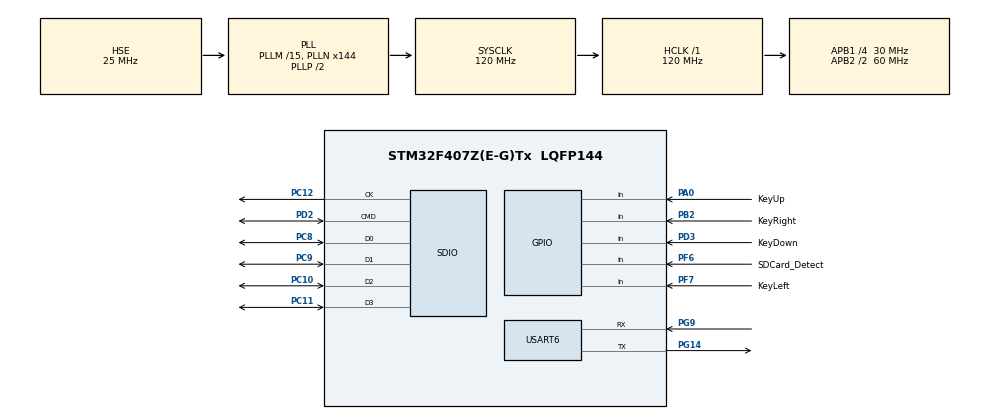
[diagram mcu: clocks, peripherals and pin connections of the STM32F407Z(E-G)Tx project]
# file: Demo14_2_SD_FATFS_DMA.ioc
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Dma.Request0=SDIO_TX
Dma.Request1=SDIO_RX
Dma.SDIO_RX.1.Direction=DMA_PERIPH_TO_MEMORY
Dma.SDIO_RX.1.FIFOMode=DMA_FIFOMODE_ENABLE
Dma.SDIO_RX.1.FIFOThreshold=DMA_FIFO_THRESHOLD_FULL
Dma.SDIO_RX.1.Instance=DMA2_Stream3
Dma.SDIO_RX.1.MemBurst=DMA_MBURST_INC4
Dma.SDIO_RX.1.MemDataAlignment=DMA_MDATAALIGN_WORD
Dma.SDIO_RX.1.MemInc=DMA_MINC_ENABLE
Dma.SDIO_RX.1.Mode=DMA_PFCTRL
Dma.SDIO_RX.1.PeriphBurst=DMA_PBURST_INC4
Dma.SDIO_RX.1.PeriphDataAlignment=DMA_PDATAALIGN_WORD
Dma.SDIO_RX.1.PeriphInc=DMA_PINC_DISABLE
Dma.SDIO_RX.1.Priority=DMA_PRIORITY_MEDIUM
Dma.SDIO_TX.0.Direction=DMA_MEMORY_TO_PERIPH
Dma.SDIO_TX.0.FIFOMode=DMA_FIFOMODE_ENABLE
Dma.SDIO_TX.0.FIFOThreshold=DMA_FIFO_THRESHOLD_FULL
Dma.SDIO_TX.0.Instance=DMA2_Stream6
Dma.SDIO_TX.0.MemBurst=DMA_MBURST_INC4
Dma.SDIO_TX.0.MemDataAlignment=DMA_MDATAALIGN_WORD
Dma.SDIO_TX.0.MemInc=DMA_MINC_ENABLE
Dma.SDIO_TX.0.Mode=DMA_PFCTRL
Dma.SDIO_TX.0.PeriphBurst=DMA_PBURST_INC4
Dma.SDIO_TX.0.PeriphDataAlignment=DMA_PDATAALIGN_WORD
Dma.SDIO_TX.0.PeriphInc=DMA_PINC_DISABLE
Dma.SDIO_TX.0.Priority=DMA_PRIORITY_MEDIUM
FATFS.BSP.number=1
FATFS.USE_DMA_CODE_SD=1
FATFS._CODE_PAGE=936
FATFS._LFN_UNICODE=0
FATFS._USE_CHMOD=1
FATFS._USE_LFN=3
FATFS0.BSP.STBoard=false
FATFS0.BSP.api=Unknown
FATFS0.BSP.instance=PF6
FATFS0.BSP.ip=GPIO
FATFS0.BSP.mode=Input
FATFS0.BSP.name=Detect_SDIO
FATFS0.BSP.solution=PF6
Mcu.Family=STM32F4
Mcu.Name=STM32F407Z(E-G)Tx
Mcu.Package=LQFP144
NVIC.DMA2_Stream3_IRQn=true\:2\:0\:true\:false\:true\:false\:true\:true
NVIC.DMA2_Stream6_IRQn=true\:2\:0\:true\:false\:true\:false\:true\:true
NVIC.PriorityGroup=NVIC_PRIORITYGROUP_4
NVIC.SDIO_IRQn=true\:1\:0\:true\:false\:true\:true\:true\:true
PA0-WKUP.GPIO_Label=KeyUp
PA0-WKUP.GPIO_PuPd=GPIO_PULLUP
PA0-WKUP.Signal=GPIO_Input
PA13.Mode=Serial_Wire
PA13.Signal=SYS_JTMS-SWDIO
PA14.Mode=Serial_Wire
PA14.Signal=SYS_JTCK-SWCLK
PB2.GPIO_Label=KeyRight
PB2.GPIO_PuPd=GPIO_PULLUP
PB2.Signal=GPIO_Input
PC10.Mode=SD_4_bits_Wide_bus
PC10.Signal=SDIO_D2
PC11.Mode=SD_4_bits_Wide_bus
PC11.Signal=SDIO_D3
PC12.Mode=SD_4_bits_Wide_bus
PC12.Signal=SDIO_CK
PC8.Mode=SD_4_bits_Wide_bus
PC8.Signal=SDIO_D0
PC9.Mode=SD_4_bits_Wide_bus
PC9.Signal=SDIO_D1
PD2.Mode=SD_4_bits_Wide_bus
PD2.Signal=SDIO_CMD
PD3.GPIO_Label=KeyDown
PD3.GPIO_PuPd=GPIO_PULLUP
PD3.Signal=GPIO_Input
PF6.GPIO_Label=SDCard_Detect
PF6.GPIO_PuPd=GPIO_PULLUP
PF6.Signal=GPIO_Input
PF7.GPIO_Label=KeyLeft
PF7.GPIO_PuPd=GPIO_PULLUP
PF7.Signal=GPIO_Input
PG14.Mode=Asynchronous
PG14.Signal=USART6_TX
PG9.Mode=Asynchronous
PG9.Signal=USART6_RX
PH0-OSC_IN.Mode=HSE-External-Oscillator
PH0-OSC_IN.Signal=RCC_OSC_IN
PH1-OSC_OUT.Mode=HSE-External-Oscillator
PH1-OSC_OUT.Signal=RCC_OSC_OUT
ProjectManager.HeapSize=0x200
ProjectManager.StackSize=0x400
ProjectManager.TargetToolchain=STM32CubeIDE
RCC.48MHZClocksFreq_Value=48000000
RCC.AHBFreq_Value=120000000
RCC.APB1CLKDivider=RCC_HCLK_DIV4
RCC.APB1Freq_Value=30000000
RCC.APB1TimFreq_Value=60000000
RCC.APB2CLKDivider=RCC_HCLK_DIV2
RCC.APB2Freq_Value=60000000
RCC.APB2TimFreq_Value=120000000
RCC.CortexFreq_Value=120000000
RCC.HCLKFreq_Value=120000000
RCC.HSE_VALUE=25000000
RCC.HSI_VALUE=16000000
RCC.LSE_VALUE=32768
RCC.PLLM=15
RCC.PLLN=144
RCC.PLLQ=5
RCC.PLLSourceVirtual=RCC_PLLSOURCE_HSE
RCC.SYSCLKFreq_VALUE=120000000
RCC.SYSCLKSource=RCC_SYSCLKSOURCE_PLLCLK
RCC.VCOOutputFreq_Value=240000000
RTC.Date=25
RTC.Format=RTC_FORMAT_BIN
RTC.Hours=12
RTC.Minutes=47
RTC.Month=RTC_MONTH_JULY
RTC.Seconds=12
RTC.WeekDay=RTC_WEEKDAY_FRIDAY
RTC.Year=25
SDIO.ClockDiv=6
USART6.VirtualMode=VM_ASYNC
VP_FATFS_VS_SDIO.Mode=SDIO
VP_RTC_VS_RTC_Activate.Mode=RTC_Enabled
VP_RTC_VS_RTC_Calendar.Mode=RTC_Calendar
board=custom

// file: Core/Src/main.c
/* USER CODE BEGIN Header */
/**
  ******************************************************************************
  * @file           : main.c
  * @brief          : Main program body
  ******************************************************************************
  * @attention
  *
  * Copyright (c) 2025 STMicroelectronics.
  * All rights reserved.
  *
  * This software is licensed under terms that can be found in the LICENSE file
  * in the root directory of this software component.
  * If no LICENSE file comes with this software, it is provided AS-IS.
  *
  ******************************************************************************
  */
/* USER CODE END Header */
#include "main.h"
#include "dma.h"
#include "fatfs.h"
#include "rtc.h"
#include "sdio.h"
#include "usart.h"
#include "gpio.h"

/* USER CODE BEGIN Includes */
#include "keyled.h"
#include "file_opera.h"
#include <stdio.h>

//#include "diskio.h"
//#include "sd_diskio.c"
/* USER CODE END Includes */

/* USER CODE BEGIN PM */
__IO uint8_t status = SD_PRESENT;
/* USER CODE END PM */

/* USER CODE BEGIN PV */
BYTE workBuffer[4*BLOCKSIZE];	// Working cache area
/* USER CODE END PV */

void SystemClock_Config(void);

int main(void)
{

  /* MCU Configuration--------------------------------------------------------*/

  /* Reset of all peripherals, Initializes the Flash interface and the Systick. */
  HAL_Init();

  /* Configure the system clock */
  SystemClock_Config();

  /* Initialize all configured peripherals */
  MX_GPIO_Init();
  MX_DMA_Init();
  MX_RTC_Init();
  MX_USART6_UART_Init();
  MX_SDIO_SD_Init();
  MX_FATFS_Init();
  /* USER CODE BEGIN 2 */
  // Start Menu
  printf("Demo14_2: FatFS on SD card(DMA).\r\n\r\n");

  /**
   * @brief SD detect
   * @{
   */
  status = BSP_SD_IsDetected();
  if(status == SD_PRESENT)
  	printf("SD has been present.\r\n");
  else
  	printf("SD has been absent.\r\n");
  /**
   * @}
   */

  /**
   * @brief Mount the file system,register a volume.
   *
   * @brief Format	f_mkfs("0:",FM_FAT32,0,workBuffer,4*BLOCKSIZE)
   * @param path	"0:" first volume;"1:" second volume;""  default volume;
   * @param opt 	FM_FAT 0x01,FM_FAT32 0x02,FM_EXFAT 0x04,FM_ANY 0x07,FM_SFD 0x08
   * @param au 		The size of the cluster.Byte,Volumes are managed in clusters,
   * 				and clusters contain sectors, which are the smallest storage units.
   * @param work	work buffer,is a multiple of the cluster，pointer。
   * @param len		The size of	work buffer，Byte.
   * @{
   */
  retSD = f_mount(&SDFatFS,"0:",0);	// Mount the SD card file system
  if(retSD == FR_NO_FILESYSTEM)
  {
	  retSD=f_mkfs("0:",FM_FAT32,0,workBuffer,4*BLOCKSIZE);
	  if(retSD == FR_OK)
	  {
		  retSD = f_mount(NULL,"0:",0);		// Unmount the drive first
		  retSD = f_mount(&SDFatFS,"0:",0);	// Mount the SD card file system
	  }
  }

  // If Mounted Failure
  if(retSD != FR_OK)
	  printf("mounted, Failure.\r\n\r\n");
  /**
   * @}
   */

  //Menu Item 1
  //format/SD info/disk info
  printf("[S2]KeyUp   =Format SD card. \r\n");
  printf("[S1]KeyRight=SD card info. \r\n");
  printf("[S4]KeyLeft =FAT disk info. \r\n");
  printf("[S3]KeyDown =Next menu page. \r\n\r\n");

  KEYS waitKey;
  while(1)
  {
	  waitKey=ScanPressedKey(KEY_WAIT_ALWAYS); 	// Waiting for the button pressed

	  if(waitKey == KEY_UP) 					// KeyUp=Format SD card
	  {
		  BYTE workBuffer[4*BLOCKSIZE];   		// Working cache area
		  DWORD clusterSize=0;	 				// The cluster size must be greater than or equal to 1 sector, 0 is automatically set.
		  printf("\r\nFormating (10secs)...\r\n");
		  FRESULT res=f_mkfs("0:", FM_FAT32, clusterSize, workBuffer, 4*BLOCKSIZE); //FM_FAT32
		  if (res == FR_OK)
			  printf("Format OK, to reset.\r\n");
		  else
			  printf("Format fail, to reset.\r\n");
	  }
	  else if(waitKey == KEY_LEFT)  			//KeyLeft =FAT disk info
		  fatTest_GetDiskInfo();
	  else if (waitKey == KEY_RIGHT)  			//KeyRight=SD card info"
		  SDCard_ShowInfo();
	  else
		  break;								//turn into the next menu2

	  printf("Reselect menu item or reset.\r\n\r\n");
	  HAL_Delay(500);							//Delay, eliminate the impact of key jitter
  }

  printf("\r\n");
  //Menu Item 2
  //test read/write SD with FATFS universal function
  printf("test read/write SD with FATFS universal function.\r\n");
  printf("[S2]KeyUp   =Write files.\r\n");
  printf("[S3]KeyDown =Get a file info.\r\n");
  printf("[S4]KeyLeft =Read a TXT file and a BIN file.\r\n");
  printf("[S1]KeyRight=Next menu page.\r\n\r\n");

  HAL_Delay(500);

  /* Menu2,use FATFS function operates files,such as 'f_'.
   * For example, These functions with "f_" as prefix,
   * are located under the \Middlewares\Third_Party\FatFs\src\.
   * These functions exist as long as FATFS is turned on,
   * but they have nothing to do with DMA.
   * Whether DMA is enabled or not, these functions are implemented the same way.
   *
   */
  while(2)
  {
	  waitKey=ScanPressedKey(KEY_WAIT_ALWAYS);

	  //Create a file with the following text and name it.
	  if (waitKey==KEY_UP )
	  {
		  fatTest_WriteTXTFile("DMA_readme.txt",2025,07,14);
		  fatTest_WriteTXTFile("DMA_help.txt",  2025,07,14);
		  fatTest_WriteBinFile("DMA_ADC2000.dat",30, 2000);
		  fatTest_WriteBinFile("DMA_ADC1000.dat",100,1000);
		  f_mkdir("0:/SubDirectory");
		  f_mkdir("0:/Documents");
	  }
	  else if (waitKey==KEY_DOWN)
	  {
	  	  fatTest_GetFileInfo("DMA_ADC1000.dat");
	  }
	  else if (waitKey==KEY_LEFT )
	  {
		  printf("Read a TXT file:\r\n");
		  fatTest_ReadTXTFile("DMA_readme.txt");
		  printf("Read a BIN file:\r\n");
	  	  fatTest_ReadBinFile("DMA_ADC2000.dat");
	  }
	  else if (waitKey==KEY_RIGHT)
		  break;		//turn into the next menu3

	  printf("Reselect menu item or reset.\r\n\r\n");

	  HAL_Delay(500);
  }

  printf("\r\n");
  //Menu Item 3
  //test erase/sd info/read/write with specialized SD_Function
  printf("test erase/SD info/read/write with specialized SD_Function.\r\n");
  printf("[S2]KeyUp   =SD card info. \r\n");
  printf("[S3]KeyDown =Erase 0-10 blocks. \r\n");
  printf("[S4]KeyLeft =Write block. \r\n");
  printf("[S1]KeyRight=Read block. \r\n\r\n");

  HAL_Delay(500);

  /* Menu 3,use FATFS function operates files,such as 'SD_'.
   * For example, These functions with "SD_" as prefix,
   * are located under the \FATFS\Target\.
   * These functions exist as long as FATFS is turned on,
   * but they are related to DMA.
   * Whether DMA is enabled or not, these functions are implemented different way.
   *
   */
  while(3)
  {
	  waitKey=ScanPressedKey(KEY_WAIT_ALWAYS);

	  if (waitKey==KEY_UP)
	  {
		  SDCard_ShowInfo();
		  //printf("Reselect menu item or reset. \r\n");
	  }
	  else if (waitKey== KEY_DOWN)
	  {
		  SDCard_EraseBlocks();			//EraseBlocks 0-10
		  //printf("Reselect menu item or reset. \r\n");
	  }
	  else if (waitKey== KEY_LEFT)
		  SDCard_TestWrite_DMA();
	  else if (waitKey== KEY_RIGHT)
		  SDCard_TestRead_DMA();

	  HAL_Delay(500);
	  printf("Reselect menu item or reset.\r\n\r\n");
  }
  /* USER CODE END 2 */

  /* Infinite loop */
  while (1)
  {

  }
}

void SystemClock_Config(void)
{
  RCC_OscInitTypeDef RCC_OscInitStruct = {0};
  RCC_ClkInitTypeDef RCC_ClkInitStruct = {0};

  /** Configure the main internal regulator output voltage
  */
  __HAL_RCC_PWR_CLK_ENABLE();
  __HAL_PWR_VOLTAGESCALING_CONFIG(PWR_REGULATOR_VOLTAGE_SCALE1);

  /** Initializes the RCC Oscillators according to the specified parameters
  * in the RCC_OscInitTypeDef structure.
  */
  RCC_OscInitStruct.OscillatorType = RCC_OSCILLATORTYPE_LSI|RCC_OSCILLATORTYPE_HSE;
  RCC_OscInitStruct.HSEState = RCC_HSE_ON;
  RCC_OscInitStruct.LSIState = RCC_LSI_ON;
  RCC_OscInitStruct.PLL.PLLState = RCC_PLL_ON;
  RCC_OscInitStruct.PLL.PLLSource = RCC_PLLSOURCE_HSE;
  RCC_OscInitStruct.PLL.PLLM = 15;
  RCC_OscInitStruct.PLL.PLLN = 144;
  RCC_OscInitStruct.PLL.PLLP = RCC_PLLP_DIV2;
  RCC_OscInitStruct.PLL.PLLQ = 5;
  if (HAL_RCC_OscConfig(&RCC_OscInitStruct) != HAL_OK)
  {
    Error_Handler();
  }

  /** Initializes the CPU, AHB and APB buses clocks
  */
  RCC_ClkInitStruct.ClockType = RCC_CLOCKTYPE_HCLK|RCC_CLOCKTYPE_SYSCLK
                              |RCC_CLOCKTYPE_PCLK1|RCC_CLOCKTYPE_PCLK2;
  RCC_ClkInitStruct.SYSCLKSource = RCC_SYSCLKSOURCE_PLLCLK;
  RCC_ClkInitStruct.AHBCLKDivider = RCC_SYSCLK_DIV1;
  RCC_ClkInitStruct.APB1CLKDivider = RCC_HCLK_DIV4;
  RCC_ClkInitStruct.APB2CLKDivider = RCC_HCLK_DIV2;

  if (HAL_RCC_ClockConfig(&RCC_ClkInitStruct, FLASH_LATENCY_3) != HAL_OK)
  {
    Error_Handler();
  }
}

/* USER CODE BEGIN 4 */

/* Show SD Information */
void SDCard_ShowInfo()
{
	HAL_SD_CardInfoTypeDef cardInfo;
	HAL_StatusTypeDef res=HAL_SD_GetCardInfo(&hsd,&cardInfo);

	if (res!=HAL_OK)
	{
		printf("HAL_SD_GetCardInfo() error. \r\n");
		return;
	}

	printf("\r\n*** SD card info *** \r\n\r\n");

	printf("Card Type= %ld \r\n", cardInfo.CardType);
	printf("Card Version= %ld \r\n", cardInfo.CardVersion);
	printf("Card Class= %ld \r\n", cardInfo.Class);
	printf("Relative Card Address= %ld \r\n", cardInfo.RelCardAdd);
	printf("Block Count= %ld \r\n", cardInfo.BlockNbr);
	printf("Block Size(Bytes)= %ld \r\n", cardInfo.BlockSize);
	printf("LogiBlockCount= %ld \r\n", cardInfo.LogBlockNbr);
	printf("LogiBlockSize(Bytes)= %ld \r\n", cardInfo.LogBlockSize);

	uint32_t cap = cardInfo.BlockNbr/1024;	//KB
	cap	= cap*cardInfo.BlockSize;			//KB
	cap = cap/1024;							//MB

	printf("SD Card Capacity(MB)= %ld \r\n\r\n", cap);
	//return HAL_OK;
}

int __io_putchar(int ch)
{
	HAL_UART_Transmit(&huart6,(uint8_t*)&ch,1,0xFFFF);
	return ch;
}

//SD card detect
//Low level indicates that a card is inserted
uint8_t BSP_SD_IsDetected(void)
{
   if(HAL_GPIO_ReadPin(SD_DETECT_GPIO_PORT, SD_DETECT_PIN) == GPIO_PIN_RESET)
  	 status = SD_PRESENT;
   else
  	 {
	   status = SD_NOT_PRESENT;
  	 }
   return status;
}
/* USER CODE END 4 */

void Error_Handler(void)
{
  __disable_irq();
  while (1)
  {
  }
}
